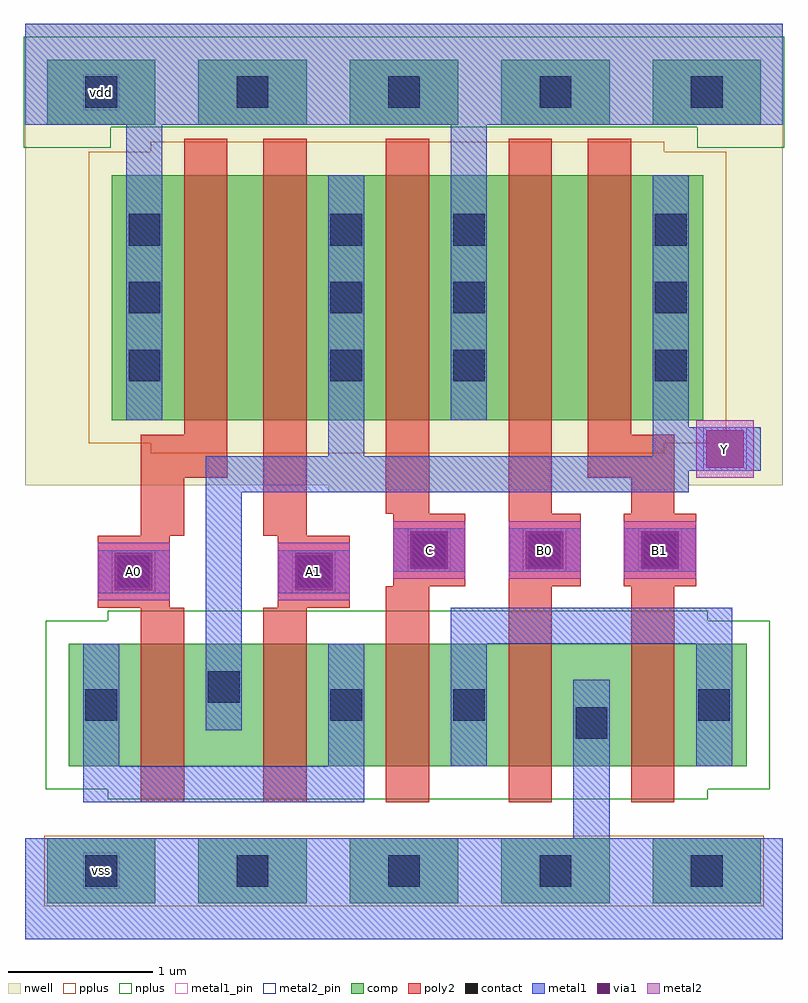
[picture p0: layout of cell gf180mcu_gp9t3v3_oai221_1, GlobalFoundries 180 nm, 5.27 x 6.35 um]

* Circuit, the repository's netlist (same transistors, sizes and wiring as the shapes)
* NGSPICE file created from gf180mcu_gp9t3v3_oai221_1.ext - technology: gf180mcuD

.subckt gf180mcu_gp9t3v3_oai221_1 A0 A1 B0 B1 C Y vdd vss
X0 a_n110_n70# A1 Y vss nfet_03v3 ad=0.23375p pd=1.4u as=0.23375p ps=1.4u w=0.85u l=0.3u
X1 Y B1 a_560_410# vdd pfet_03v3 ad=0.85p pd=4.4u as=0.2125p ps=1.95u w=1.7u l=0.3u
X2 a_390_n70# C a_n110_n70# vss nfet_03v3 ad=0.23375p pd=1.4u as=0.23375p ps=1.4u w=0.85u l=0.3u
X3 a_390_n70# B1 vss vss nfet_03v3 ad=0.425p pd=2.7u as=0.23375p ps=1.4u w=0.85u l=0.3u
X4 a_110_410# A0 vdd vdd pfet_03v3 ad=0.2125p pd=1.95u as=0.85p ps=4.4u w=1.7u l=0.3u
X5 Y A1 a_110_410# vdd pfet_03v3 ad=0.4675p pd=2.25u as=0.2125p ps=1.95u w=1.7u l=0.3u
X6 vss B0 a_390_n70# vss nfet_03v3 ad=0.23375p pd=1.4u as=0.23375p ps=1.4u w=0.85u l=0.3u
X7 vdd C Y vdd pfet_03v3 ad=0.4675p pd=2.25u as=0.4675p ps=2.25u w=1.7u l=0.3u
X8 Y A0 a_n110_n70# vss nfet_03v3 ad=0.23375p pd=1.4u as=0.425p ps=2.7u w=0.85u l=0.3u
X9 a_560_410# B0 vdd vdd pfet_03v3 ad=0.2125p pd=1.95u as=0.4675p ps=2.25u w=1.7u l=0.3u
.ends

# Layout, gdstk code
import gdstk
lib = gdstk.Library(unit=1e-6, precision=1e-09)
def R(c, l, rs):  # rectangles x0, y0, x1, y1
    for r in rs: c.add(gdstk.rectangle(r[:2], r[2:], *l))
def A(c, l, x, y, w, h, nx, ny, dx, dy):  # array of equal rectangles
    R(c, l, [(x+i*dx, y+j*dy, x+i*dx+w, y+j*dy+h) for i in range(nx) for j in range(ny)])
nwell = (21, 0)
comp = (22, 0)
poly2 = (30, 0)
pplus = (31, 0)
nplus = (32, 0)
contact = (33, 0)
metal1 = (34, 0)
metal1_pin = (34, 10)
via1 = (35, 0)
metal2 = (36, 0)
metal2_pin = (36, 10)

gf180mcu_gp9t3v3_oai221_ = lib.new_cell('gf180mcu_gp9t3v3_oai221_1')
R(gf180mcu_gp9t3v3_oai221_, nwell, [(1.25,1.55,3.75,1.6), (-0.85,1.6,4.4,4.8)])
A(gf180mcu_gp9t3v3_oai221_, comp, -0.7, -1.3, 0.75, 0.45, 5, 2, 1.05, 5.4)
R(gf180mcu_gp9t3v3_oai221_, comp, [(-0.55,-0.35,4.15,0.5), (-0.25,2.05,3.85,3.75)])
A(gf180mcu_gp9t3v3_oai221_, poly2, 1.65, -0.6, 0.3, 1.5, 3, 1, 0.85, 0)
A(gf180mcu_gp9t3v3_oai221_, poly2, 1.7, 0.9, 0.5, 0.5, 3, 1, 0.8, 0)
R(gf180mcu_gp9t3v3_oai221_, poly2, [(-0.05,-0.6,0.25,0.75), (0.8,-0.6,1.1,0.75), (-0.35,0.75,0.15,1.25), (0.9,0.75,1.4,1.25), (-0.05,1.25,0.25,1.65), (0.8,1.25,1.1,4), (1.65,1.4,1.95,4), (2.5,1.4,2.8,4), (3.35,1.4,3.65,1.65), (-0.05,1.65,0.55,1.95), (3.05,1.65,3.65,1.95), (0.25,1.95,0.55,4), (3.05,1.95,3.35,4)])
R(gf180mcu_gp9t3v3_oai221_, pplus, [(-0.72,-1.32,4.27,-0.83), (0.02,1.82,3.58,1.89), (-0.41,1.89,4.01,3.91), (0.02,3.91,3.58,3.98)])
R(gf180mcu_gp9t3v3_oai221_, nplus, [(-0.28,-0.58,3.88,-0.51), (-0.71,-0.51,4.31,0.66), (-0.28,0.66,3.88,0.73), (-0.86,3.94,-0.26,4.08), (3.81,3.94,4.41,4.08), (-0.86,4.08,4.41,4.71)])
A(gf180mcu_gp9t3v3_oai221_, contact, -0.435, -1.185, 0.22, 0.22, 5, 2, 1.05, 5.4)
A(gf180mcu_gp9t3v3_oai221_, contact, 1.84, 1.04, 0.22, 0.22, 3, 1, 0.8, 0)
A(gf180mcu_gp9t3v3_oai221_, contact, -0.135, 2.32, 0.22, 0.22, 1, 3, 0, 0.47)
A(gf180mcu_gp9t3v3_oai221_, contact, 1.265, 2.32, 0.22, 0.22, 1, 3, 0, 0.47)
A(gf180mcu_gp9t3v3_oai221_, contact, 2.115, 2.32, 0.22, 0.22, 1, 3, 0, 0.47)
A(gf180mcu_gp9t3v3_oai221_, contact, 3.515, 2.32, 0.22, 0.22, 1, 3, 0, 0.47)
R(gf180mcu_gp9t3v3_oai221_, contact, [(2.965,-0.16,3.185,0.06), (-0.435,-0.035,-0.215,0.185), (1.265,-0.035,1.485,0.185), (2.115,-0.035,2.335,0.185), (3.815,-0.035,4.035,0.185), (0.415,0.09,0.635,0.31), (-0.21,0.89,0.01,1.11), (1.04,0.89,1.26,1.11)])
A(gf180mcu_gp9t3v3_oai221_, metal1, 1.7, 1, 0.5, 0.3, 3, 1, 0.8, 0)
R(gf180mcu_gp9t3v3_oai221_, metal1, [(-0.85,-1.55,4.4,-0.85), (2.95,-0.85,3.2,0.25), (-0.45,-0.6,1.5,-0.35), (-0.45,-0.35,-0.2,0.5), (1.25,-0.35,1.5,0.5), (2.1,-0.35,2.35,0.5), (3.8,-0.35,4.05,0.5), (0.4,-0.1,0.65,1.55), (2.1,0.5,4.05,0.75), (-0.35,0.85,0.15,1.15), (0.9,0.85,1.4,1.15), (0.4,1.55,3.75,1.7), (0.4,1.7,4.25,1.8), (1.25,1.8,1.5,3.75), (3.5,1.8,4.25,2), (3.5,2,3.75,3.75), (-0.15,2.05,0.1,4.1), (2.1,2.05,2.35,4.1), (-0.85,4.1,4.4,4.8)])
R(gf180mcu_gp9t3v3_oai221_, metal1_pin, [(-0.45,-1.2,-0.2,-0.95), (-0.45,4.2,-0.2,4.45)])
A(gf180mcu_gp9t3v3_oai221_, via1, 1.82, 1.02, 0.26, 0.26, 3, 1, 0.8, 0)
R(gf180mcu_gp9t3v3_oai221_, via1, [(-0.23,0.87,0.03,1.13), (1.02,0.87,1.28,1.13), (3.87,1.72,4.13,1.98)])
A(gf180mcu_gp9t3v3_oai221_, metal2, 1.7, 0.95, 0.5, 0.4, 3, 1, 0.8, 0)
R(gf180mcu_gp9t3v3_oai221_, metal2, [(-0.35,0.8,0.15,1.2), (0.9,0.8,1.4,1.2), (3.8,1.65,4.2,2.05)])
A(gf180mcu_gp9t3v3_oai221_, metal2_pin, 1.8, 1, 0.3, 0.3, 3, 1, 0.8, 0)
R(gf180mcu_gp9t3v3_oai221_, metal2_pin, [(-0.25,0.85,0.05,1.15), (1,0.85,1.3,1.15), (3.85,1.7,4.15,2)])
gf180mcu_gp9t3v3_oai221_.add(gdstk.Label('A0', (-0.1,1), layer=36, texttype=10))
gf180mcu_gp9t3v3_oai221_.add(gdstk.Label('A1', (1.15,1), layer=36, texttype=10))
gf180mcu_gp9t3v3_oai221_.add(gdstk.Label('B0', (2.75,1.15), layer=36, texttype=10))
gf180mcu_gp9t3v3_oai221_.add(gdstk.Label('B1', (3.55,1.15), layer=36, texttype=10))
gf180mcu_gp9t3v3_oai221_.add(gdstk.Label('C', (1.95,1.15), layer=36, texttype=10))
gf180mcu_gp9t3v3_oai221_.add(gdstk.Label('Y', (4,1.85), layer=34, texttype=10))
gf180mcu_gp9t3v3_oai221_.add(gdstk.Label('vdd', (-0.325,4.325), layer=22, texttype=0))
gf180mcu_gp9t3v3_oai221_.add(gdstk.Label('vss', (-0.325,-1.075), layer=22, texttype=0))

lib.write_gds('gf180mcu_gp9t3v3_oai221_1.gds')
